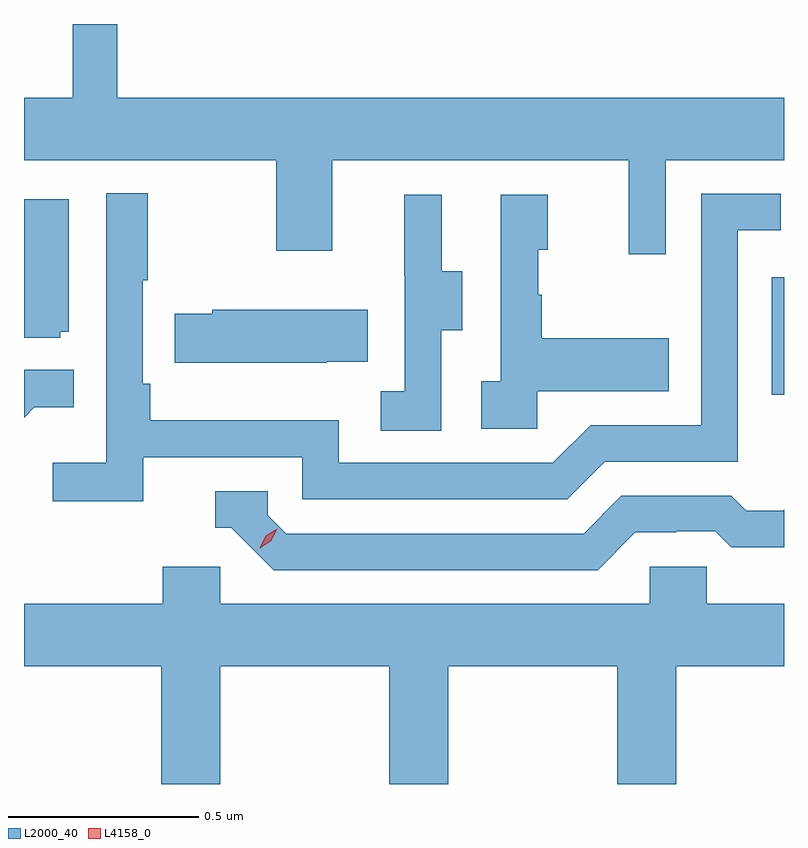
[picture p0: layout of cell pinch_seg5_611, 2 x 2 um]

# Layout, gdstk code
import gdstk
lib = gdstk.Library(unit=1e-6, precision=1e-09)
def R(c, l, rs):  # rectangles x0, y0, x1, y1
    for r in rs: c.add(gdstk.rectangle(r[:2], r[2:], *l))
def P(c, l, *ps):  # polygons
    for p in ps: c.add(gdstk.Polygon(p, *l))
L2000_40 = (2000, 40)
L4158_0 = (4158, 0)

pinch_seg5_611 = lib.new_cell('pinch_seg5_611')
R(pinch_seg5_611, L2000_40, [(1092.87,864.135,1092.902,864.444)])
P(pinch_seg5_611, L2000_40, [(1092.591,864.752),(1092.902,864.752),(1092.902,864.916),(1091.147,864.916),(1091.147,865.11),(1091.03,865.11),(1091.03,864.916),(1090.902,864.916),(1090.902,864.752),(1091.566,864.752),(1091.566,864.513),(1091.713,864.513),(1091.713,864.752),(1092.494,864.752),(1092.494,864.504),(1092.591,864.504)],
  [(1091.216,863.97),(1091.634,863.97),(1091.634,863.859),(1092.331,863.859),(1092.43,863.958),(1092.78,863.958),(1092.78,864.567),(1092.893,864.567),(1092.893,864.663),(1092.684,864.663),(1092.684,864.054),(1092.393,864.054),(1092.294,863.955),(1091.73,863.955),(1091.73,864.067),(1091.234,864.067),(1091.234,864.163),(1091.214,864.163),(1091.214,864.436),(1091.227,864.436),(1091.227,864.664),(1091.118,864.664),(1091.118,863.956),(1090.977,863.956),(1090.977,863.854),(1091.216,863.854)],
  [(1092,864.304),(1092.055,864.304),(1092.055,864.459),(1092.001,864.459),(1092.001,864.661),(1091.903,864.661),(1091.903,864.447),(1091.904,864.447),(1091.904,864.143),(1091.841,864.143),(1091.841,864.04),(1092,864.04)],
  [(1092.252,864.143),(1092.599,864.143),(1092.599,864.283),(1092.265,864.283),(1092.265,864.398),(1092.255,864.398),(1092.255,864.516),(1092.28,864.516),(1092.28,864.661),(1092.156,864.661),(1092.156,864.17),(1092.105,864.17),(1092.105,864.045),(1092.252,864.045)],
  [(1090.998,864.3),(1091.02,864.3),(1091.02,864.649),(1090.902,864.649),(1090.902,864.285),(1090.998,864.285)],
  [(1091.699,864.221),(1091.807,864.221),(1091.807,864.358),(1091.397,864.358),(1091.397,864.348),(1091.299,864.348),(1091.299,864.218),(1091.699,864.218)],
  [(1090.929,864.101),(1091.033,864.101),(1091.033,864.2),(1090.902,864.2),(1090.902,864.074)],
  [(1092.511,863.772),(1092.618,863.772),(1092.618,863.775),(1092.721,863.775),(1092.763,863.733),(1092.902,863.733),(1092.902,863.832),(1092.901,863.832),(1092.901,863.829),(1092.802,863.829),(1092.763,863.868),(1092.474,863.868),(1092.375,863.769),(1091.592,863.769),(1091.544,863.817),(1091.544,863.88),(1091.405,863.88),(1091.405,863.784),(1091.448,863.784),(1091.559,863.673),(1092.412,863.673)],
  [(1091.418,863.42),(1091.863,863.42),(1091.863,863.11),(1092.018,863.11),(1092.018,863.42),(1092.463,863.42),(1092.463,863.11),(1092.618,863.11),(1092.618,863.42),(1092.902,863.42),(1092.902,863.584),(1092.699,863.584),(1092.699,863.682),(1092.549,863.682),(1092.549,863.584),(1091.418,863.584),(1091.418,863.682),(1091.267,863.682),(1091.267,863.584),(1090.902,863.584),(1090.902,863.42),(1091.263,863.42),(1091.263,863.11),(1091.418,863.11)])
P(pinch_seg5_611, L4158_0, [(1091.522,863.73),(1091.522,863.731),(1091.538,863.763),(1091.568,863.782),(1091.568,863.782),(1091.568,863.782),(1091.553,863.75),(1091.522,863.73)])

lib.write_gds('pinch_seg5_611.gds')
